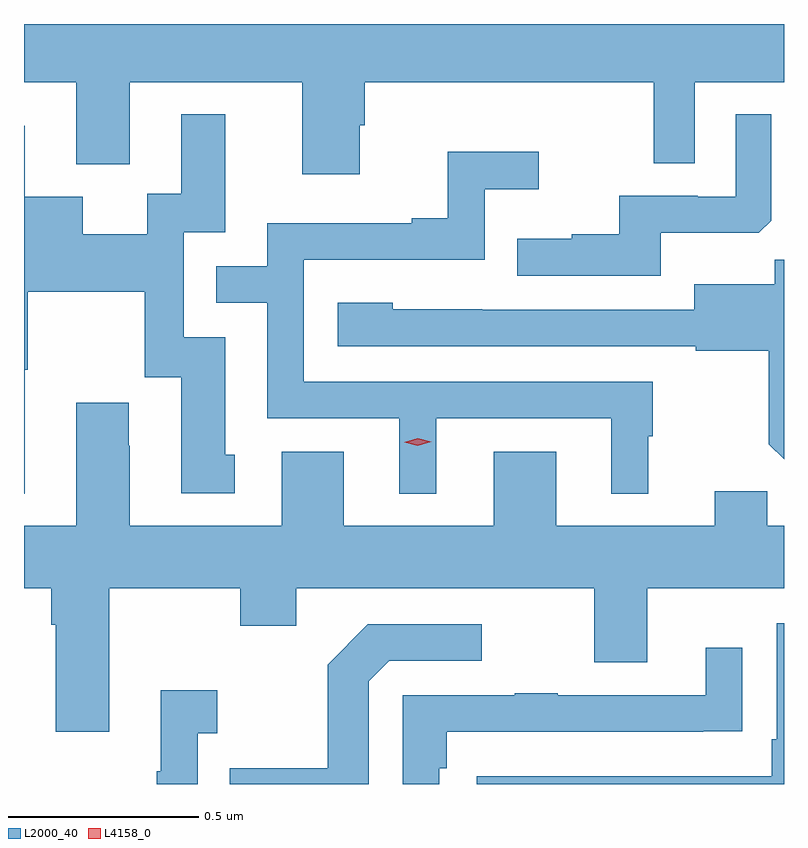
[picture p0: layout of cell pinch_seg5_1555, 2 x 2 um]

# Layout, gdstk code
import gdstk
lib = gdstk.Library(unit=1e-6, precision=1e-09)
def P(c, l, *ps):  # polygons
    for p in ps: c.add(gdstk.Polygon(p, *l))
L2000_40 = (2000, 40)
L4158_0 = (4158, 0)

pinch_seg5_1555 = lib.new_cell('pinch_seg5_1555')
P(pinch_seg5_1555, L2000_40, [(191.543,838.112),(191.681,838.112),(191.681,837.896),(191.821,837.896),(191.821,838.112),(192.275,838.112),(192.275,837.87),(192.427,837.87),(192.427,837.999),(192.44,837.999),(192.44,838.112),(193.2,838.112),(193.2,837.898),(193.308,837.898),(193.308,838.112),(193.543,838.112),(193.543,838.265),(191.543,838.265)],
  [(193.219,837.716),(193.477,837.716),(193.509,837.747),(193.509,838.027),(193.416,838.027),(193.416,837.81),(193.316,837.81),(193.316,837.813),(193.109,837.813),(193.109,837.712),(192.985,837.712),(192.985,837.7),(192.841,837.7),(192.841,837.603),(193.219,837.603)],
  [(191.545,837.355),(191.553,837.355),(191.553,837.56),(191.861,837.56),(191.861,837.336),(191.957,837.336),(191.957,837.03),(192.097,837.03),(192.097,837.132),(192.073,837.132),(192.073,837.441),(191.964,837.441),(191.964,837.717),(192.073,837.717),(192.073,838.027),(191.957,838.027),(191.957,837.818),(191.867,837.818),(191.867,837.712),(191.698,837.712),(191.698,837.811),(191.545,837.811),(191.545,837.997),(191.543,837.997),(191.543,837.029),(191.545,837.029)],
  [(192.628,837.228),(193.088,837.228),(193.088,837.029),(193.186,837.029),(193.186,837.18),(193.198,837.18),(193.198,837.324),(192.279,837.324),(192.279,837.645),(192.756,837.645),(192.756,837.83),(192.898,837.83),(192.898,837.929),(192.658,837.929),(192.658,837.754),(192.563,837.754),(192.563,837.741),(192.183,837.741),(192.183,837.627),(192.049,837.627),(192.049,837.531),(192.183,837.531),(192.183,837.228),(192.53,837.228),(192.53,837.029),(192.628,837.029)],
  [(193.543,837.644),(193.518,837.644),(193.518,837.58),(193.307,837.58),(193.307,837.513),(192.749,837.513),(192.749,837.514),(192.513,837.514),(192.513,837.532),(192.369,837.532),(192.369,837.417),(193.311,837.417),(193.311,837.405),(193.503,837.405),(193.503,837.159),(193.543,837.119)],
  [(193.543,836.944),(193.499,836.944),(193.499,837.035),(193.361,837.035),(193.361,836.944),(192.943,836.944),(192.943,837.139),(192.779,837.139),(192.779,836.944),(192.385,836.944),(192.385,837.139),(192.221,837.139),(192.221,836.944),(191.821,836.944),(191.821,837.155),(191.818,837.155),(191.818,837.268),(191.681,837.268),(191.681,836.944),(191.543,836.944),(191.543,836.78),(191.615,836.78),(191.615,836.684),(191.627,836.684),(191.627,836.403),(191.767,836.403),(191.767,836.78),(192.112,836.78),(192.112,836.681),(192.259,836.681),(192.259,836.78),(193.043,836.78),(193.043,836.586),(193.183,836.586),(193.183,836.78),(193.543,836.78)],
  [(193.543,836.688),(193.524,836.688),(193.524,836.383),(193.511,836.383),(193.511,836.286),(192.735,836.286),(192.735,836.265),(193.543,836.265)],
  [(192.45,836.535),(192.504,836.589),(192.748,836.589),(192.748,836.685),(192.447,836.685),(192.342,836.579),(192.342,836.307),(192.085,836.307),(192.085,836.265),(192.45,836.265)],
  [(192.636,836.306),(192.656,836.306),(192.656,836.403),(193.331,836.403),(193.331,836.404),(193.433,836.404),(193.433,836.623),(193.337,836.623),(193.337,836.499),(192.947,836.499),(192.947,836.504),(192.835,836.504),(192.835,836.499),(192.54,836.499),(192.54,836.265),(192.636,836.265)],
  [(192,836.399),(192.052,836.399),(192.052,836.512),(191.903,836.512),(191.903,836.299),(191.892,836.299),(191.892,836.265),(192,836.265)])
P(pinch_seg5_1555, L4158_0, [(192.579,837.155),(192.543,837.164),(192.543,837.164),(192.543,837.164),(192.579,837.175),(192.615,837.166),(192.615,837.166),(192.615,837.166)])

lib.write_gds('pinch_seg5_1555.gds')
